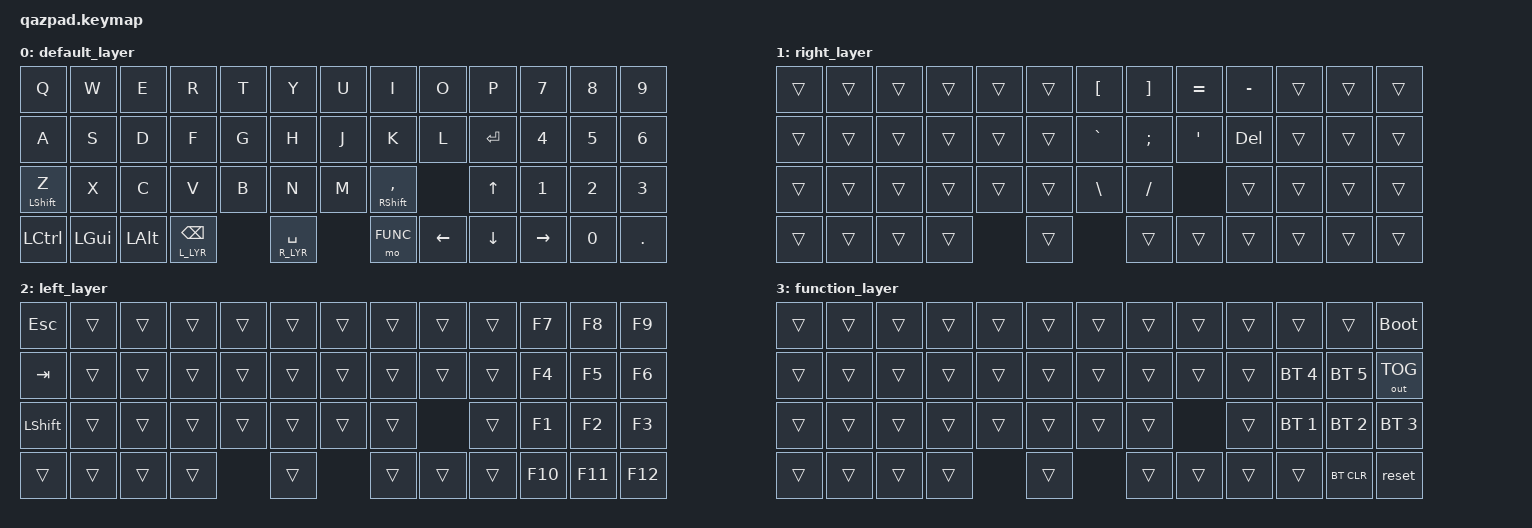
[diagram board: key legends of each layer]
/*
 * Copyright (c) 2020 The ZMK Contributors
 *
 * SPDX-License-Identifier: MIT
 */

#include <behaviors.dtsi>
#include <dt-bindings/zmk/keys.h>
#include <dt-bindings/zmk/bt.h>
#include <dt-bindings/zmk/outputs.h>

#define DEFLT   0
#define R_LYR   1
#define L_LYR   2
#define FUNC    3

&mt {
    tapping-term-ms = <200>; 
};
&lt {
    quick-tap-ms = <400>;
};

/ {
    keymap {
        compatible = "zmk,keymap";

        default_layer {
            bindings = <
    &kp Q       &kp W       &kp E       &kp R       &kp T       &kp Y       &kp U       &kp I       &kp O       &kp P       &kp N7      &kp N8      &kp N9
    &kp A       &kp S       &kp D       &kp F       &kp G       &kp H       &kp J       &kp K       &kp L       &kp RET     &kp N4      &kp N5      &kp N6
    &mt LSHFT Z &kp X       &kp C       &kp V       &kp B       &kp N       &kp M       &mt RSHFT COMMA         &kp UP      &kp N1      &kp N2      &kp N3 
    &kp LCTRL   &kp LGUI    &kp LALT          &lt L_LYR BSPC          &lt R_LYR SPACE   &mo FUNC    &kp LEFT    &kp DOWN    &kp RIGHT   &kp N0      &kp DOT
            >;
        };
	
        right_layer {
            bindings = <
    &trans      &trans      &trans      &trans      &trans      &trans      &kp LBKT    &kp RBKT    &kp EQUAL   &kp MINUS   &trans      &trans      &trans      
    &trans      &trans      &trans      &trans      &trans      &trans      &kp GRAVE   &kp SEMI    &kp SQT     &kp DEL     &trans      &trans      &trans      
    &trans      &trans      &trans      &trans      &trans      &trans      &kp BSLH    &kp SLASH               &trans      &trans      &trans      &trans      
    &trans      &trans      &trans            &trans                  &trans            &trans      &trans      &trans      &trans      &trans      &trans      
            >;
        };

    	left_layer {
            bindings = <
    &kp ESC     &trans      &trans      &trans      &trans      &trans      &trans      &trans      &trans      &trans      &kp F7      &kp F8      &kp F9      
    &kp TAB     &trans      &trans      &trans      &trans      &trans      &trans      &trans      &trans      &trans      &kp F4      &kp F5      &kp F6      
    &kp LSHFT   &trans      &trans      &trans      &trans      &trans      &trans      &trans                  &trans      &kp F1      &kp F2      &kp F3      
    &trans      &trans      &trans            &trans                  &trans            &trans      &trans      &trans      &kp F10     &kp F11     &kp F12     
            >;
        };

	function_layer {
            bindings = <
    &trans      &trans      &trans      &trans      &trans      &trans      &trans      &trans      &trans      &trans      &trans      &trans      &bootloader     
    &trans      &trans      &trans      &trans      &trans      &trans      &trans      &trans      &trans      &trans      &bt BT_SEL 4 &bt BT_SEL 5 &out OUT_TOG     
    &trans      &trans      &trans      &trans      &trans      &trans      &trans      &trans                  &trans      &bt BT_SEL 1 &bt BT_SEL 2 &bt BT_SEL 3      
    &trans      &trans      &trans            &trans                  &trans            &trans      &trans      &trans      &trans      &bt BT_CLR  &reset  
            >;
        };
    };
};
